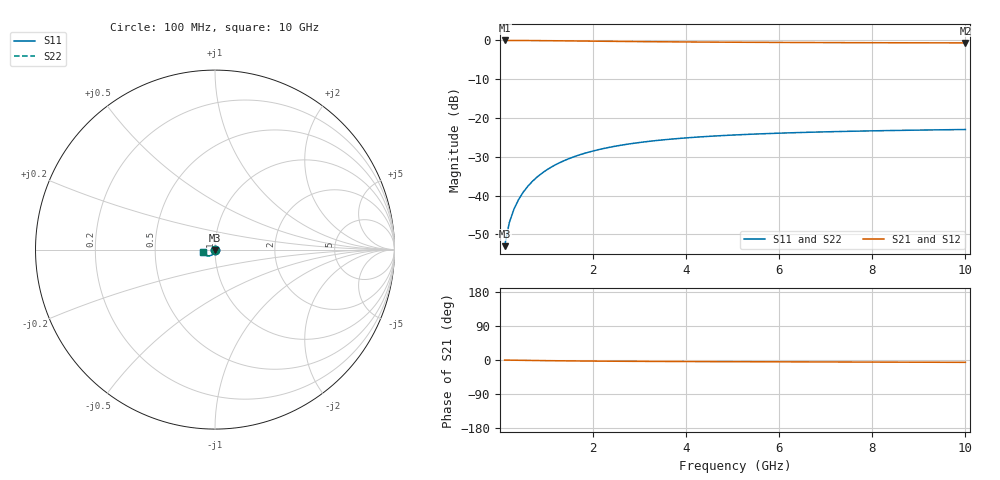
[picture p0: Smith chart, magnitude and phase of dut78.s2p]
! Touchstone file exported from HFSS 2024.1.0
!  File:  C:/UserFiles/LocalFiles/RDL_TSV_Batchsim/temp_TSV1_78_1779374759.aedt
!  Generated:  10:51:24 PM May 21, 2026
!  Design:  TSV1
!  Project:  temp_TSV1_78_1779374759
!  Setup:  Setup1
!  Solution:  Sweep
! Variables:
!  dtsv = 14.8um
!  hbump = 3um
!  htsv = 95.81um
!  lrdl = 252.1521522um
!  p = 40
!  p1 = 55.21um
!  t = 500um
!  trdl = 3um
!  wrdl = 24.89489489um
# GHz S MA R 50.000000
! Terminal data exported
! Port[1] = TSV22_T1
! Port[2] = TSV22_T2
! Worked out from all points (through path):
!   100 points, 100 MHz to 10 GHz, reference 50 ohm
!   highest |S21| = 0.00 dB at 100 MHz (marker M1); lowest = -0.6 dB at 10 GHz (marker M2)
!   lowest |S11| = -53.0 dB at 100 MHz (marker M3), VSWR 1.00, Z = 50 - j0.223 ohm
!   |S11| at or under -10 dB: start of sweep to end of sweep
!   |S22| runs from -53.0 to -23.0 dB; largest |S21 - S12| = 3.7e-15
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0.1  0.002234 -89.6  0.9998 -0.2  0.9998 -0.2  0.002234 -89.6
! Gamma 0 0 0 0
! Port Impedance 50 0 50 0
0.2  0.004466 -92.5  0.9996 -0.4  0.9996 -0.4  0.004466 -92.5
0.3  0.006693 -94.7  0.9992 -0.5  0.9992 -0.5  0.006693 -94.7
0.4  0.008904 -96.8  0.9987 -0.7  0.9987 -0.7  0.008904 -96.8
0.5  0.01109 -98.8  0.998 -0.9  0.998 -0.9  0.01109 -98.8
0.6  0.01324 -100.7  0.9973 -1.1  0.9973 -1.1  0.01324 -100.7
0.7  0.01534 -102.6  0.9964 -1.2  0.9964 -1.2  0.01534 -102.6
0.8  0.01741 -104.5  0.9954 -1.4  0.9954 -1.4  0.01741 -104.5
0.9  0.01942 -106.3  0.9944 -1.5  0.9944 -1.5  0.01942 -106.3
1.1  0.02327 -109.8  0.992 -1.8  0.992 -1.8  0.02327 -109.8
1.4  0.02861 -114.7  0.9881 -2.2  0.9881 -2.2  0.02861 -114.7
1.6  0.03186 -117.7  0.9853 -2.5  0.9853 -2.5  0.03186 -117.7
1.8  0.03486 -120.6  0.9824 -2.7  0.9824 -2.7  0.03486 -120.6
2.1  0.03893 -124.6  0.9782 -3.0  0.9782 -3.0  0.03893 -124.6
2.5  0.0436 -129.4  0.9728 -3.3  0.9728 -3.3  0.0436 -129.4
2.9  0.04753 -133.6  0.9678 -3.5  0.9678 -3.5  0.04753 -133.6
3.4  0.0516 -138.2  0.9622 -3.8  0.9622 -3.8  0.0516 -138.2
4.2  0.05662 -144.2  0.9547 -4.2  0.9547 -4.2  0.05662 -144.2
5.1  0.06077 -149.7  0.9482 -4.5  0.9482 -4.5  0.06077 -149.7
6.7  0.06573 -157.2  0.9399 -5.1  0.9399 -5.1  0.06573 -157.2
8.4  0.06906 -163.2  0.9341 -5.6  0.9341 -5.6  0.06906 -163.2
10  0.07116 -167.7  0.9304 -6.2  0.9304 -6.2  0.07116 -167.7
